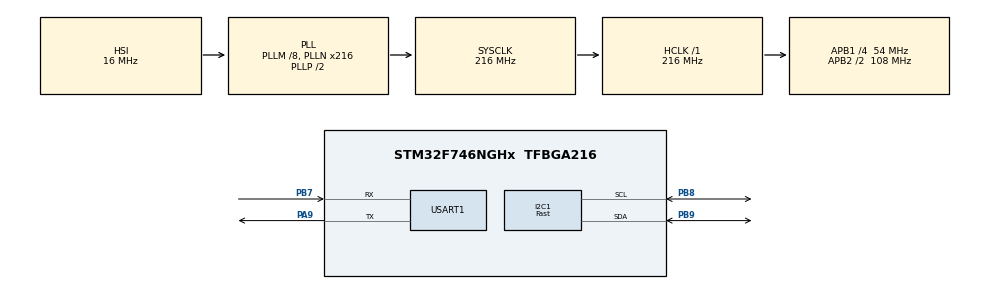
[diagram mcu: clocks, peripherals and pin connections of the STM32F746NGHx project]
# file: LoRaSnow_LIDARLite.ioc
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I2C1.I2C_Speed_Mode=I2C_Fast
I2C1.Timing=0x6000030D
Mcu.Family=STM32F7
Mcu.Name=STM32F746NGHx
Mcu.Package=TFBGA216
NVIC.PriorityGroup=NVIC_PRIORITYGROUP_4
PA9.Mode=Asynchronous
PA9.Signal=USART1_TX
PB7.Mode=Asynchronous
PB7.Signal=USART1_RX
PB8.Mode=I2C
PB8.Signal=I2C1_SCL
PB9.Mode=I2C
PB9.Signal=I2C1_SDA
ProjectManager.HeapSize=0x200
ProjectManager.StackSize=0x400
ProjectManager.TargetToolchain=STM32CubeIDE
RCC.AHBFreq_Value=216000000
RCC.APB1CLKDivider=RCC_HCLK_DIV4
RCC.APB1Freq_Value=54000000
RCC.APB1TimFreq_Value=108000000
RCC.APB2CLKDivider=RCC_HCLK_DIV2
RCC.APB2Freq_Value=108000000
RCC.APB2TimFreq_Value=216000000
RCC.CortexFreq_Value=216000000
RCC.HCLKFreq_Value=216000000
RCC.HSE_VALUE=25000000
RCC.HSI_VALUE=16000000
RCC.LSE_VALUE=32768
RCC.PLLM=8
RCC.PLLN=216
RCC.SYSCLKFreq_VALUE=216000000
RCC.SYSCLKSource=RCC_SYSCLKSOURCE_PLLCLK
RCC.USBFreq_Value=216000000
RCC.VCOOutputFreq_Value=432000000
USART1.VirtualMode-Asynchronous=VM_ASYNC
board=custom

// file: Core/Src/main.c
/* USER CODE BEGIN Header */
/**
  ******************************************************************************
  * @file           : main.c
  * @brief          : Main program body
  ******************************************************************************
  * @attention
  *
  * <h2><center>&copy; Copyright (c) 2021 STMicroelectronics.
  * All rights reserved.</center></h2>
  *
  * This software component is licensed by ST under BSD 3-Clause license,
  * the "License"; You may not use this file except in compliance with the
  * License. You may obtain a copy of the License at:
  *                        opensource.org/licenses/BSD-3-Clause
  *
  ******************************************************************************
  */
/* USER CODE END Header */
#include "main.h"

/* USER CODE BEGIN Includes */

#include <stdbool.h>
#include <string.h>
#include <stdio.h>

#include "../Sensors/Inc/LIDARLite_v4LED.h"

/* USER CODE END Includes */

I2C_HandleTypeDef hi2c1;

UART_HandleTypeDef huart1;

void SystemClock_Config(void);
static void MX_GPIO_Init(void);
static void MX_I2C1_Init(void);
static void MX_USART1_UART_Init(void);

int main(void)
{
  /* USER CODE BEGIN 1 */
	__disable_irq();

	//Variables
	LIDARLite_TypeDef lidar;	//Our LIDAR
	char str[100];				//String buffer
	uint16_t distance;			//The distance, in cm

	uint16_t dToMeasure[] = {20, 40, 60, 80, 100, 150, 200, 250, 300, 350, 400, 450, 500, 550, 600};
	uint8_t size = 15;

  /* USER CODE END 1 */

  /* MCU Configuration--------------------------------------------------------*/

  /* Reset of all peripherals, Initializes the Flash interface and the Systick. */
  HAL_Init();

  /* Configure the system clock */
  SystemClock_Config();

  /* Initialize all configured peripherals */
  MX_GPIO_Init();
  MX_I2C1_Init();
  MX_USART1_UART_Init();
  /* USER CODE BEGIN 2 */

  //Connect to LIDAR
  bool connect = LIDAR_init(&lidar, LIDAR_DEFAULT_ADDR, &hi2c1);

  if(connect)
	  strcpy(str, "Successfully connected.\r\n");
  else
	  strcpy(str, "Error.\r\n");

  HAL_UART_Transmit(&huart1, str, strlen(str), HAL_MAX_DELAY);

  __enable_irq();

  /* USER CODE END 2 */

  /* Infinite loop */
  /* USER CODE BEGIN WHILE */

  uint8_t i = 0, j = 0;

  while (1)
  {
	  for(j = 0; j < size; j++)
	  {
		  sprintf(str, "Measuring a real distance of %i.\r\n", dToMeasure[j]);
		  HAL_UART_Transmit(&huart1, str, strlen(str), HAL_MAX_DELAY);

		  for(i = 0; i < 10; i++)
		  {
			  distance = LIDAR_getDistance(&lidar);

			  sprintf(str, "%i\r\n", distance);
			  HAL_UART_Transmit(&huart1, str, strlen(str), HAL_MAX_DELAY);

			  HAL_Delay(500);
		  }

		  i = 0;
		  sprintf(str, "Finished. You have 10 seconds to move.\r\n");
		  HAL_UART_Transmit(&huart1, str, strlen(str), HAL_MAX_DELAY);

		  HAL_Delay(10000);
	  }

    /* USER CODE END WHILE */

  }
}

void SystemClock_Config(void)
{
  RCC_OscInitTypeDef RCC_OscInitStruct = {0};
  RCC_ClkInitTypeDef RCC_ClkInitStruct = {0};
  RCC_PeriphCLKInitTypeDef PeriphClkInitStruct = {0};

  /** Configure the main internal regulator output voltage
  */
  __HAL_RCC_PWR_CLK_ENABLE();
  __HAL_PWR_VOLTAGESCALING_CONFIG(PWR_REGULATOR_VOLTAGE_SCALE1);
  /** Initializes the RCC Oscillators according to the specified parameters
  * in the RCC_OscInitTypeDef structure.
  */
  RCC_OscInitStruct.OscillatorType = RCC_OSCILLATORTYPE_HSI;
  RCC_OscInitStruct.HSIState = RCC_HSI_ON;
  RCC_OscInitStruct.HSICalibrationValue = RCC_HSICALIBRATION_DEFAULT;
  RCC_OscInitStruct.PLL.PLLState = RCC_PLL_ON;
  RCC_OscInitStruct.PLL.PLLSource = RCC_PLLSOURCE_HSI;
  RCC_OscInitStruct.PLL.PLLM = 8;
  RCC_OscInitStruct.PLL.PLLN = 216;
  RCC_OscInitStruct.PLL.PLLP = RCC_PLLP_DIV2;
  RCC_OscInitStruct.PLL.PLLQ = 2;
  if (HAL_RCC_OscConfig(&RCC_OscInitStruct) != HAL_OK)
  {
    Error_Handler();
  }
  /** Activate the Over-Drive mode
  */
  if (HAL_PWREx_EnableOverDrive() != HAL_OK)
  {
    Error_Handler();
  }
  /** Initializes the CPU, AHB and APB buses clocks
  */
  RCC_ClkInitStruct.ClockType = RCC_CLOCKTYPE_HCLK|RCC_CLOCKTYPE_SYSCLK
                              |RCC_CLOCKTYPE_PCLK1|RCC_CLOCKTYPE_PCLK2;
  RCC_ClkInitStruct.SYSCLKSource = RCC_SYSCLKSOURCE_PLLCLK;
  RCC_ClkInitStruct.AHBCLKDivider = RCC_SYSCLK_DIV1;
  RCC_ClkInitStruct.APB1CLKDivider = RCC_HCLK_DIV4;
  RCC_ClkInitStruct.APB2CLKDivider = RCC_HCLK_DIV2;

  if (HAL_RCC_ClockConfig(&RCC_ClkInitStruct, FLASH_LATENCY_7) != HAL_OK)
  {
    Error_Handler();
  }
  PeriphClkInitStruct.PeriphClockSelection = RCC_PERIPHCLK_USART1|RCC_PERIPHCLK_I2C1;
  PeriphClkInitStruct.Usart1ClockSelection = RCC_USART1CLKSOURCE_PCLK2;
  PeriphClkInitStruct.I2c1ClockSelection = RCC_I2C1CLKSOURCE_PCLK1;
  if (HAL_RCCEx_PeriphCLKConfig(&PeriphClkInitStruct) != HAL_OK)
  {
    Error_Handler();
  }
}

static void MX_I2C1_Init(void)
{

  hi2c1.Instance = I2C1;
  hi2c1.Init.Timing = 0x6000030D;
  hi2c1.Init.OwnAddress1 = 0;
  hi2c1.Init.AddressingMode = I2C_ADDRESSINGMODE_7BIT;
  hi2c1.Init.DualAddressMode = I2C_DUALADDRESS_DISABLE;
  hi2c1.Init.OwnAddress2 = 0;
  hi2c1.Init.OwnAddress2Masks = I2C_OA2_NOMASK;
  hi2c1.Init.GeneralCallMode = I2C_GENERALCALL_DISABLE;
  hi2c1.Init.NoStretchMode = I2C_NOSTRETCH_DISABLE;
  if (HAL_I2C_Init(&hi2c1) != HAL_OK)
  {
    Error_Handler();
  }
  /** Configure Analogue filter
  */
  if (HAL_I2CEx_ConfigAnalogFilter(&hi2c1, I2C_ANALOGFILTER_ENABLE) != HAL_OK)
  {
    Error_Handler();
  }
  /** Configure Digital filter
  */
  if (HAL_I2CEx_ConfigDigitalFilter(&hi2c1, 0) != HAL_OK)
  {
    Error_Handler();
  }

}

static void MX_USART1_UART_Init(void)
{

  huart1.Instance = USART1;
  huart1.Init.BaudRate = 115200;
  huart1.Init.WordLength = UART_WORDLENGTH_8B;
  huart1.Init.StopBits = UART_STOPBITS_1;
  huart1.Init.Parity = UART_PARITY_NONE;
  huart1.Init.Mode = UART_MODE_TX_RX;
  huart1.Init.HwFlowCtl = UART_HWCONTROL_NONE;
  huart1.Init.OverSampling = UART_OVERSAMPLING_16;
  huart1.Init.OneBitSampling = UART_ONE_BIT_SAMPLE_DISABLE;
  huart1.AdvancedInit.AdvFeatureInit = UART_ADVFEATURE_NO_INIT;
  if (HAL_UART_Init(&huart1) != HAL_OK)
  {
    Error_Handler();
  }

}

static void MX_GPIO_Init(void)
{

  /* GPIO Ports Clock Enable */
  __HAL_RCC_GPIOB_CLK_ENABLE();
  __HAL_RCC_GPIOA_CLK_ENABLE();

}

void Error_Handler(void)
{
  __disable_irq();
  while (1)
  {
  }
}

/************************ (C) COPYRIGHT STMicroelectronics *****END OF FILE****/
